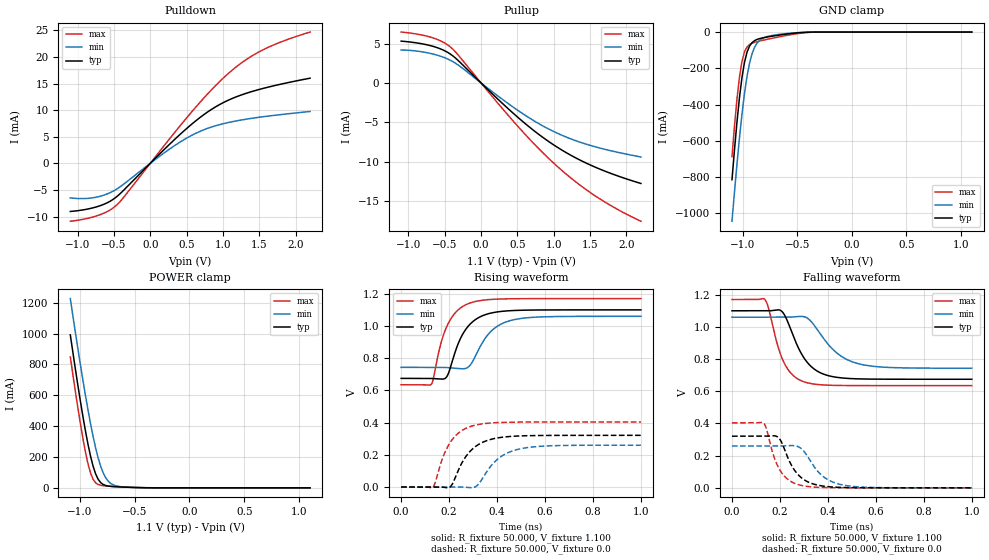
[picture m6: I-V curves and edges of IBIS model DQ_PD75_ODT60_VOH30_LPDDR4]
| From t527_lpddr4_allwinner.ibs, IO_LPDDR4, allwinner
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|   Model DQ_PD75_ODT60_VOH30_LPDDR4
[Model] DQ_PD75_ODT60_VOH30_LPDDR4
Model_type I/O
Polarity   Non-Inverting
Enable   Active-Low
Vinl =  0.550V
Vinh =  0.550V
C_comp   1.607pF   1.571pF   1.658pF
C_comp_pullup   0.531pF   0.513pF   0.552pF
C_comp_pulldown   0.811pF   0.787pF   0.842pF
[Model Spec]
Vinh   0.550V   0.530V   0.585V
Vinl   0.550V   0.530V   0.585V
[Temperature Range]   25.000   0.125k   -40.000
[Voltage Range]   1.100V   1.060V   1.170V
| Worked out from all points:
|   slope of the pulldown table from 0 to 0.165 V, typ, clamps not added: 73.5 ohm
|   slope of the pullup table from 0 to 0.165 V, typ, clamps not added: 112 ohm
|   GND clamp passes 1 mA (typ) near -0.41 V on its own axis
|   POWER clamp passes 1 mA (typ) near -0.43 V on its own axis
|   rising waveform, R_fixture 50.000, V_fixture 1.100: 20-80 % time 80.8ps typ, 91.7ps min, 71.9ps max; typ from 0.675 V to 1.1 V
|   rising waveform, R_fixture 50.000, V_fixture 0.0: 20-80 % time 87.8ps typ, 99.3ps min, 77.6ps max; typ from 0 V to 0.321 V
|   falling waveform, R_fixture 50.000, V_fixture 1.100: 20-80 % time 89ps typ, 118ps min, 69.1ps max; typ from 1.1 V to 0.675 V
|   falling waveform, R_fixture 50.000, V_fixture 0.0: 20-80 % time 73.7ps typ, 88.9ps min, 62.5ps max; typ from 0.321 V to 0 V
[Pulldown]
|Voltage   I(typ)   I(min)   I(max)
-1.1V     -9.042mA   -6.493mA   -10.89mA
-930mV    -8.762mA   -6.625mA   -10.53mA
-760mV    -8.26mA    -6.405mA   -9.968mA
-590mV    -7.397mA   -5.735mA   -9.049mA
-454mV    -6.178mA   -4.77mA    -7.737mA
396mV     5.259mA    3.877mA    6.812mA
668mV     8.44mA     5.907mA    11.21mA
940mV     10.94mA    7.223mA    15.18mA
1.212V    12.65mA    8.048mA    18.44mA
1.484V    13.83mA    8.633mA    20.86mA
1.79V     14.86mA    9.156mA    22.77mA
2.2V      16.01mA    9.751mA    24.69mA
[Pullup]
|Voltage   I(typ)   I(min)   I(max)
-1.1V     5.306mA    4.179mA    6.461mA
-690mV    4.719mA    3.734mA    5.799mA
-520mV    4.171mA    3.272mA    5.171mA
-418mV    3.636mA    2.855mA    4.533mA
-282mV    2.56mA     2.056mA    3.177mA
500mV     -4.31mA    -3.438mA   -5.438mA
772mV     -6.367mA   -5.04mA    -8.132mA
1.01V     -7.921mA   -6.207mA   -10.26mA
1.282V    -9.404mA   -7.256mA   -12.39mA
1.554V    -10.61mA   -8.054mA   -14.22mA
1.86V     -11.72mA   -8.754mA   -15.95mA
2.2V      -12.75mA   -9.393mA   -17.55mA
[GND_clamp]
|Voltage   I(typ)   I(min)   I(max)
-1.1V     -814.3mA   -1.043A    -687.3mA
-1.054V   -495.2mA   -726.8mA   -368.6mA
-1.031V   -359.9mA   -582mA     -246.8mA
-1.008V   -249mA     -451mA     -160.6mA
-985mV    -166.3mA   -337.4mA   -109.1mA
-962mV    -111mA     -244.1mA   -82.21mA
-939mV    -77.52mA   -172.2mA   -68.77mA
-893mV    -47.38mA   -84.61mA   -56.67mA
-847mV    -36.3mA    -46.06mA   -49.6mA
-709mV    -20.71mA   -16.6mA    -31.62mA
-364mV    -364.7uA   -458uA     -980.4uA
1.1V      0A         0A         0A
[POWER_clamp]
|Voltage   I(typ)   I(min)   I(max)
-1.085V   991.5mA    1.227A     848.5mA
-1.016V   664.1mA    901.8mA    518.1mA
-970mV    462mA      696.7mA    319.4mA
-924mV    282.7mA    505.5mA    156.2mA
-901mV    206.2mA    417.2mA    96.77mA
-855mV    91.54mA    261mA      33.12mA
-809mV    34.38mA    141.1mA    16.54mA
-763mV    15.18mA    65.46mA    12.33mA
-717mV    9.405mA    28.28mA    10.15mA
-625mV    5.457mA    7.413mA    6.614mA
-441mV    1.152mA    1.562mA    1.233mA
1.1V      0A         0A         0A
[Ramp]
| variable   typ   min   max
dV/dt_r   0.193/87.790p   0.156/99.331p   0.242/77.584p
dV/dt_f   0.255/89.036p   0.190/0.118n   0.321/69.188p
R_load = 50.000
[Rising Waveform]
R_fixture= 50.000
V_fixture= 1.100
V_fixture_min= 1.060
V_fixture_max= 1.170
|time   V(typ)   V(min)   V(max)
0s        674.6mV    743.1mV    635mV
126ps     674.1mV    743.2mV    638.6mV
134ps     673.5mV    743.1mV    671.2mV
165ps     670.4mV    742.5mV    887.7mV
193ps     691.9mV    741.5mV    1.006V
243ps     908.2mV    735.3mV    1.107V
286ps     1.009V     753.5mV    1.142V
368ps     1.078V     956.3mV    1.164V
453ps     1.095V     1.033V     1.169V
1ns       1.1V       1.06V      1.17V
[Rising Waveform]
R_fixture= 50.000
V_fixture= 0.0
V_fixture_min= 0.0
V_fixture_max= 0.0
|time   V(typ)   V(min)   V(max)
0s        2.743uV    66.25uV    203.5nV
132ps     322.3uV    149.8uV    -1.787mV
175ps     -1.221mV   90.75uV    187.8mV
204ps     -73.63uV   302.5uV    275.2mV
258ps     162mV      -295.4uV   354.9mV
299ps     238.1mV    -3.828mV   380.4mV
323ps     264.4mV    18.63mV    388.6mV
400ps     304.3mV    170.1mV    400mV
482ps     316.4mV    232mV      403mV
1ns       320.9mV    259.6mV    403.8mV
[Falling Waveform]
R_fixture= 50.000
V_fixture= 1.100
V_fixture_min= 1.060
V_fixture_max= 1.170
|time   V(typ)   V(min)   V(max)
0s        1.1V       1.06V      1.17V
137ps     1.1V       1.06V      1.17V
151ps     1.099V     1.06V      1.123V
215ps     1.084V     1.06V      784.2mV
251ps     961.4mV    1.061V     704mV
297ps     814.7mV    1.064V     660.6mV
377ps     709.3mV    938.4mV    639.5mV
442ps     685.5mV    832.2mV    636.1mV
512ps     677.7mV    777.8mV    635.2mV
1ns       674.6mV    743.2mV    635mV
[Falling Waveform]
R_fixture= 50.000
V_fixture= 0.0
V_fixture_min= 0.0
V_fixture_max= 0.0
|time   V(typ)   V(min)   V(max)
0s        320.9mV    259.6mV    403.8mV
133ps     320.7mV    259.6mV    401.1mV
144ps     321mV      259.8mV    365.1mV
174ps     323.8mV    259.8mV    197.8mV
198ps     305mV      259.7mV    115.3mV
246ps     146mV      262.7mV    39.32mV
280ps     75.37mV    252.8mV    18.43mV
373ps     12.36mV    79.7mV     2.33mV
455ps     2.57mV     20.09mV    373.6uV
1ns       2.813uV    68.47uV    208nV
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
